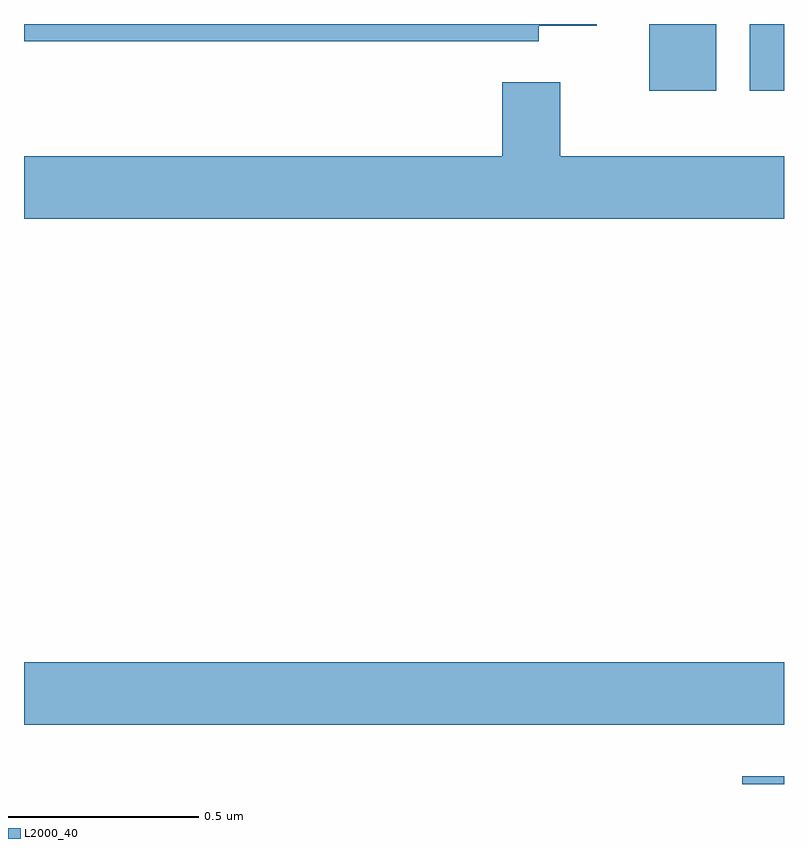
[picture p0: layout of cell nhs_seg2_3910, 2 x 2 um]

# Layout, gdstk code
import gdstk
lib = gdstk.Library(unit=1e-6, precision=1e-09)
def R(c, l, rs):  # rectangles x0, y0, x1, y1
    for r in rs: c.add(gdstk.rectangle(r[:2], r[2:], *l))
def P(c, l, *ps):  # polygons
    for p in ps: c.add(gdstk.Polygon(p, *l))
L2000_40 = (2000, 40)

nhs_seg2_3910 = lib.new_cell('nhs_seg2_3910')
R(nhs_seg2_3910, L2000_40, [(160.89,660.8,161,660.82), (159,660.956,161,661.12), (160.646,662.624,160.822,662.8), (160.91,662.624,161,662.8)])
P(nhs_seg2_3910, L2000_40, [(160.354,662.795),(160.507,662.795),(160.507,662.8),(159,662.8),(159,662.754),(160.354,662.754)],
  [(161,662.452),(160.411,662.452),(160.411,662.647),(160.259,662.647),(160.259,662.452),(159,662.452),(159,662.288),(161,662.288)])

lib.write_gds('nhs_seg2_3910.gds')
